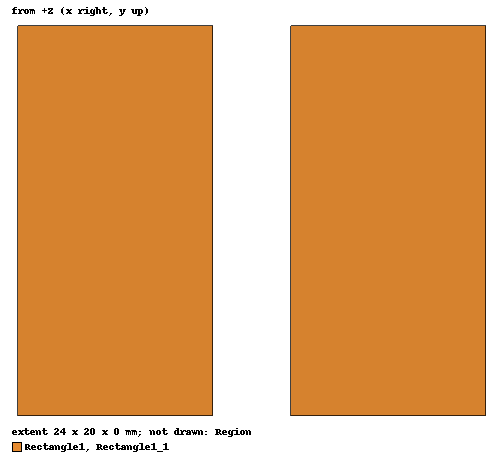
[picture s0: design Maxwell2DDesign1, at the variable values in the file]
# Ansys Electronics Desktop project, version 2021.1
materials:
  Ferrite_G5_diametral: permeability=1.05 magnetic_coercivity{Magnitude=-295573.47A_per_meter DirComp1=1 DirComp2=0 DirComp3=0}
  Tole_decoupe: permeability{HUnit=A_per_meter BUnit=tesla curve (0, 0) (139, 0.359) (278, 0.596) (460, 0.807) (679, 0.978) (941, 1.118) (1255, 1.234) (1610, 1.33) (2033, 1.41) (2630, 1.48) (3083, 1.546) (4066, 1.6) (5005, 1.654) (6133, 1.704) (7486, 1.753) (9110, 1.8) (11059, 1.857) (13397, 1.917) (16203, 1.98) (19570, 2.05) (23610, 2.127) (28459, 2.203)} stacking_type=Lamination stacking_factor=0.97 stacking_direction=V(3)
  copper: permeability=0.999991 conductivity=58000000
  vacuum: permittivity=1

design Maxwell2DDesign1 (Maxwell 2D, Transient, XY geometry, model units mm)
options: ModelDepth=1meter
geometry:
  Rectangle1 [copper] = rectangle(corner=(0mm, 0mm, 0mm), x_size=10mm, y_size=20mm)
  Rectangle1_1 [copper] = Rectangle1.duplicate_along_line(step=(14mm, 0mm, 0mm), total=2)
  Region [vacuum] = region(percentage_offset: +X=100, -X=100, +Y=100, -Y=100, +Z=0, -Z=0)
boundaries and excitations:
  Balloon1: Balloon Edges=Region.edge(all 4)
  Rectangle1: Coil Objects=Rectangle1 Conductor_number=1 Winding=PHA PolarityType=Positive
  Rectangle1_1: Coil Objects=Rectangle1_1 Conductor_number=1 Winding=PHA PolarityType=Negative
  PHA: Winding Group Type=Current IsSolid=true Current=1A*sin(2*pi*100*time) ParallelBranchesNum=1
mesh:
  initial mesh: MeshMethod=AnsoftTAU
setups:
  Setup1: Transient NonlinearSolverResidual=0.0001 StopTime=0.02s TimeStep=0.0002s SaveFieldsType="Every N Steps" N_Steps=5 Steps_From=0s Steps_To=0.02s NumberSolveSteps=1 RangeStart=0s RangeEnd=0.1s InitialTimeStep=0.002s MinTimeStep=0.001s MaxTimeStep=0.003s TimeStepErrTolerance=0.0001
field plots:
  Mag_H_LRXQWJ: Mag_H_LRXQWJ over a plane on Setup1 : Transient at Time=-1
  Mag_H_5ID4GV: Mag_H_5ID4GV over a plane on Setup1 : Transient at Time=-1
  Mag_H_PNSI85: Mag_H_PNSI85 over a plane on Setup1 : Transient at Time=-1
  Mag_H_BQ9VIE: Mag_H_BQ9VIE over a plane on Setup1 : Transient at Time=-1
  Mag_H_YWHIXA: Mag_H_YWHIXA over a plane on Setup1 : Transient at Time=-1
  Mag_H_PJXALK: Mag_H_PJXALK over a plane on Setup1 : Transient at Time=-1
  Mag_H_H3MFNA: Mag_H_H3MFNA over a plane on Setup1 : Transient at Time=-1
  Mag_H_2JYM94: Mag_H_2JYM94 over a plane on Setup1 : Transient at Time=-1
  Mag_H_0GMQE2: Mag_H_0GMQE2 over a plane on Setup1 : Transient at Time=-1
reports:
  Winding Plot 1: InputCurrent(PHA) vs Time on Setup1 : Transient
